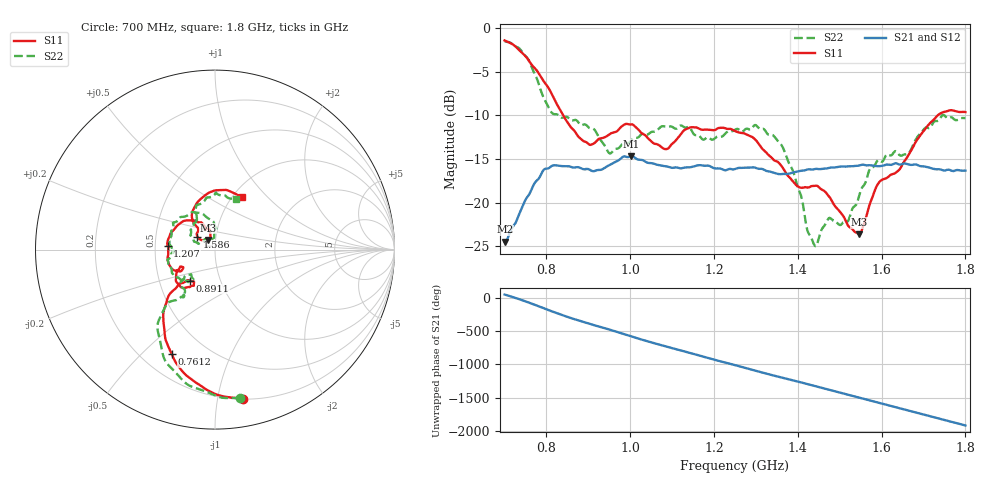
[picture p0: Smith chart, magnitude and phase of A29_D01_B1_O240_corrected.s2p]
! Created with skrf 1.9.0 (http://scikit-rf.org).
# Hz S RI R 50.0
!freq ReS11 ImS11 ReS21 ImS21 ReS12 ImS12 ReS22 ImS22
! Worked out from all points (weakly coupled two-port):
!   1601 points, 700 MHz to 1.8 GHz, reference 50 ohm
!   highest |S21| = -14.69 dB at 1.002 GHz (marker M1); lowest = -24.5 dB at 700.7 MHz (marker M2)
!   lowest |S11| = -23.6 dB at 1.547 GHz (marker M3), VSWR 1.14, Z = 46 + j4.92 ohm
!   |S11| at or under -10 dB: 839.8 MHz to 1.734 GHz (894.5 MHz wide, 69.5 % of centre)
!   |S22| runs from -25.0 to -1.5 dB; largest |S21 - S12| = 0.0037
!   S11 on the Smith chart (normalised r, x): 700 MHz: 0.20, -1.19; 761.2 MHz: 0.32, -0.62; 891.1 MHz: 0.71, -0.26; 1.207 GHz: 0.58, +0.03; 1.586 GHz: 0.81, +0.12; 1.8 GHz: 1.10, +0.73
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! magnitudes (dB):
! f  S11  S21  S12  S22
! 700 MHz  -1.4  -24.4  -24.2  -1.5
! 700.7 MHz  -1.5  -24.5  -24.2  -1.5
! 761.2 MHz  -4.0  -18.8  -18.7  -4.1
! 812.1 MHz  -7.5  -15.8  -15.8  -9.7
! 883.6 MHz  -12.8  -16.1  -16.0  -11.1
! 891.1 MHz  -13.0  -16.2  -16.2  -11.0
! 950.9 MHz  -12.2  -15.7  -15.7  -14.4
! 1.002 GHz  -11.0  -14.7  -14.8  -12.9
! 1.067 GHz  -13.4  -15.7  -15.6  -11.6
! 1.207 GHz  -11.5  -16.1  -16.1  -12.5
! 1.25 GHz  -11.8  -16.2  -16.1  -11.7
! 1.3 GHz  -12.8  -16.0  -16.0  -11.1
! 1.359 GHz  -15.7  -16.7  -16.7  -13.3
! 1.434 GHz  -18.1  -16.2  -16.2  -24.2
! 1.475 GHz  -19.3  -16.0  -16.0  -21.8
! 1.518 GHz  -22.5  -15.9  -15.9  -22.2
! 1.547 GHz  -23.6  -15.7  -15.7  -19.1
! 1.586 GHz  -18.3  -15.8  -15.8  -15.5
! 1.617 GHz  -17.0  -15.7  -15.6  -14.5
! 1.663 GHz  -14.7  -15.6  -15.6  -14.4
! 1.735 GHz  -10.0  -16.2  -16.2  -10.6
! 1.8 GHz  -9.6  -16.3  -16.3  -10.3
